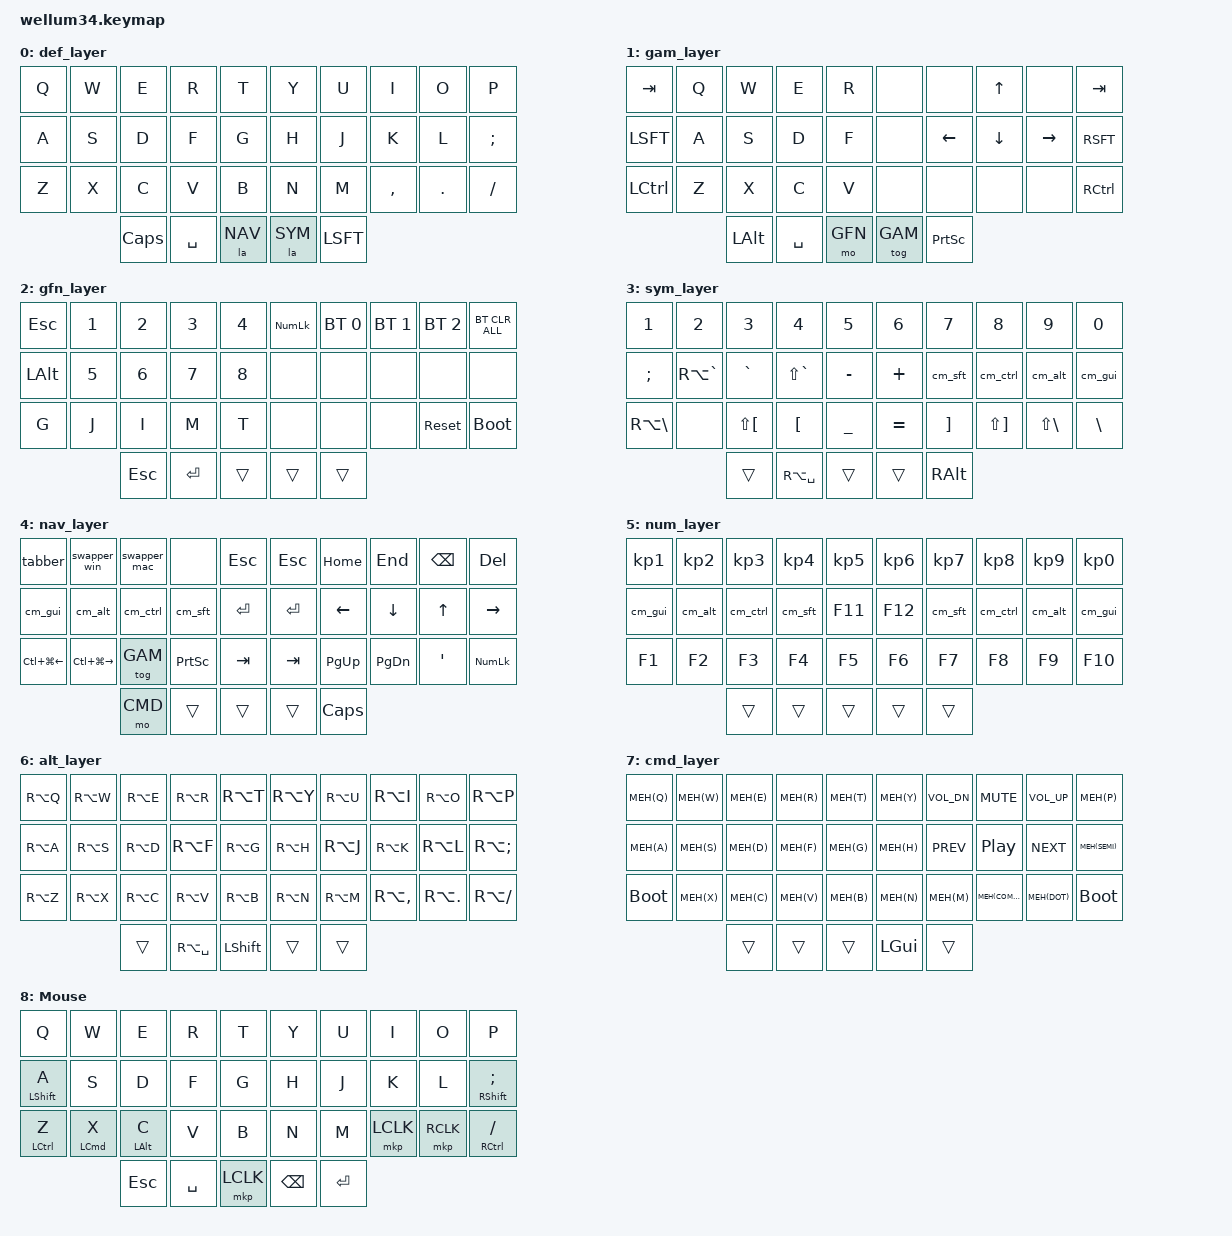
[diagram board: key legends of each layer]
#include <behaviors.dtsi>
#include <dt-bindings/zmk/keys.h>
#include <dt-bindings/zmk/bt.h>
#include <behaviors/mouse_keys.dtsi>
#include <dt-bindings/zmk/keys.h>
#include <dt-bindings/zmk/mouse.h>
#include <dt-bindings/zmk/outputs.h>

#include <dt-bindings/zmk/ext_power.h>

#define _ &kp
#define ___ &none
#define ______ &trans

#define DEF 0
#define GAM 1
#define GFN 2
#define SYM 3
#define NAV 4
#define NUM 5
#define ALT 6
#define CMD 7

#define MEH(key) LS(LC(LA(key)))

#define SQT GRAVE
#define DQT LS(GRAVE)
#define GRV RA(GRAVE)
#define PIP LS(BSLH)
#define BSL RA(BSLH)
#define NBSP RA(SPACE)

#define NSPC LC(LG(RIGHT))
#define PSPC LC(LG(LEFT))

// custom implementation of modified callum-mods,
// which can be released on second keypress
// and also work with swapper and/or tabber

#define PARAM_1 0
#define PARAM_2 0

#define MACRO(NAME, COMPATIBLE, BINDING_CELLS, BINDINGS) \
    NAME: NAME { \
        compatible = COMPATIBLE; \
        #binding-cells = <BINDING_CELLS>; \
        wait-ms = <0>; \
        tap-ms = <0>; \
        bindings = \
            <BINDINGS>; \
    };

#define MACRO_NO_PARAM(NAME, BINDINGS)  MACRO(NAME, "zmk,behavior-macro"          , 0, BINDINGS)
#define MACRO_ONE_PARAM(NAME, BINDINGS) MACRO(NAME, "zmk,behavior-macro-one-param", 1, BINDINGS)
#define MACRO_TWO_PARAM(NAME, BINDINGS) MACRO(NAME, "zmk,behavior-macro-two-param", 2, BINDINGS)

#define MAX_TIMER __UINT32_MAX__ // around 50 days

#define STICKY_FOREVER(NAME, BIND) \
    NAME: NAME { \
        compatible = "zmk,behavior-sticky-key"; \
        #binding-cells = <1>; \
        bindings = <BIND>; \
        release-after-ms = <MAX_TIMER>; \
        ignore-modifiers; \
    };

#define MODMORPH(NAME, NORMAL, MORPHED, MODS, KEEP_MODS) \
    NAME: NAME { \
        compatible = "zmk,behavior-mod-morph"; \
        #binding-cells = <0>; \
        bindings = <NORMAL>, <MORPHED>; \
        mods = <(MODS)>; \
        keep-mods = <(KEEP_MODS)>; \
    };

&sk {
        release-after-ms = <60000>;
};

/ {
    behaviors {
        MACRO_ONE_PARAM(
            m_release_key_twice,
            &macro_release
                &macro_param_1to1 &kp PARAM_1
                &macro_param_1to1 &kp PARAM_1
        )


        MACRO_ONE_PARAM(
            m_press_key_twice,
            &macro_press
                &macro_param_1to1 &kp PARAM_1
                &macro_param_1to1 &kp PARAM_1
            &macro_pause_for_release
            &macro_tap
                &m_release_key_twice PARAM_1
        )

        STICKY_FOREVER(sticky_forever, &m_press_key_twice)

        MODMORPH(
            cm_gui,
            &sticky_forever LGUI,
            &m_release_key_twice LGUI,
            MOD_LGUI,
            MOD_LGUI
        )

        MODMORPH(
            cm_alt,
            &sticky_forever LALT,
            &m_release_key_twice LALT,
            MOD_LALT,
            MOD_LALT
        )

        MODMORPH(
            cm_ctrl,
            &sticky_forever LCTRL,
            &m_release_key_twice LCTRL,
            MOD_LCTL,
            MOD_LCTL
        )

        MODMORPH(
            cm_sft,
            &sticky_forever LSHIFT,
            &m_release_key_twice LSHIFT,
            MOD_LSFT,
            MOD_LSFT
        )

        MACRO_TWO_PARAM(
            m_hold_mod_press_key,
            &macro_press
                &macro_param_1to1 &kp PARAM_1
            &macro_tap
                &macro_param_2to1 &kp PARAM_2
        )

        MODMORPH(
            tabber,
            &m_hold_mod_press_key LCTRL TAB,
            &kp TAB,
            MOD_LCTL,
            MOD_LCTL
        )

        MODMORPH(
            swapper_win,
            &m_hold_mod_press_key LALT TAB,
            &kp TAB,
            MOD_LALT,
            MOD_LALT
        )

        MODMORPH(
            swapper_mac,
            &m_hold_mod_press_key LGUI TAB,
            &kp TAB,
            MOD_LGUI,
            MOD_LGUI
        )

        MACRO_ONE_PARAM(
            la,
            &macro_tap
                &kp 0 // do nothing, fire all sticky keys
            &macro_press
                &macro_param_1to1 &mo PARAM_1
            &macro_pause_for_release
            &macro_release
                &macro_param_1to1 &mo PARAM_1
                &kp LSHFT
                &kp LCTRL
                &kp LALT
                &kp LGUI
        )
    };

    conditional_layers {
        compatible = "zmk,conditional-layers";
        tri_layer {
            if-layers  = <NAV SYM>;
            then-layer = <NUM>;
        };
    };
};

/ {
    keymap {
        compatible = "zmk,keymap";

        def_layer {
            bindings = <
_ Q          _ W          _ E          _ R         _ T             _ Y          _ U          _ I          _ O          _ P
_ A          _ S          _ D          _ F         _ G             _ H          _ J          _ K          _ L          _ SEMI
_ Z          _ X          _ C          _ V         _ B             _ N          _ M          _ COMMA      _ DOT        _ FSLH
                          _ CAPS       _ SPACE     &la NAV         &la SYM      _ LSFT
            >;
        };

        gam_layer {
            bindings = <
_ TAB        _ Q          _ W          _ E         _ R             ___          ___          _ UP         ___          _ TAB
_ LSFT       _ A          _ S          _ D         _ F             ___          _ LEFT       _ DOWN       _ RIGHT      _ RSFT
_ LCTRL      _ Z          _ X          _ C         _ V             ___          ___          ___          ___          _ RCTRL
                          _ LALT       _ SPACE     &mo GFN         &tog GAM     _ PSCRN
            >;
        };

        gfn_layer {
            bindings = <
_ ESC        _ N1         _ N2         _ N3        _ N4            _ KP_NUM     &bt BT_SEL 0 &bt BT_SEL 1 &bt BT_SEL 2 &bt BT_CLR_ALL
_ LALT       _ N5         _ N6         _ N7        _ N8            ___          ___          ___          ___          ___
_ G          _ J          _ I          _ M         _ T             ___          ___          ___          &sys_reset   &bootloader
                          _ ESC        _ RET       ______          ______       ______
            >;
        };

        sym_layer {
            bindings = <
_ N1         _ N2         _ N3         _ N4        _ N5            _ N6         _ N7         _ N8         _ N9         _ N0
_ SEMI       _ GRV        _ SQT        _ DQT       _ MINUS         _ PLUS       &cm_sft      &cm_ctrl     &cm_alt      &cm_gui
_ BSL        ___          _ LS(LBKT)   _ LBKT      _ UNDER         _ EQUAL      _ RBKT       _ LS(RBKT)   _ PIP        _ BSLH
                          ______       _ NBSP      ______          ______       _ RALT
            >;
        };

        nav_layer {
            bindings = <
&tabber      &swapper_win &swapper_mac ___         _ ESC           _ ESC        _ HOME       _ END        _ BSPC       _ DEL
&cm_gui      &cm_alt      &cm_ctrl     &cm_sft     _ RET           _ RET        _ LEFT       _ DOWN       _ UP         _ RIGHT
_ PSPC       _ NSPC       &tog GAM     _ PSCRN     _ TAB           _ TAB        _ PG_UP      _ PG_DN      _ APOS       _ KP_NUM
                          &mo CMD      ______      ______          ______       _ CAPS
            >;
        };

        num_layer {
            bindings = <
_ KP_N1      _ KP_N2      _ KP_N3      _ KP_N4     _ KP_N5         _ KP_N6      _ KP_N7      _ KP_N8      _ KP_N9      _ KP_N0
&cm_gui      &cm_alt      &cm_ctrl     &cm_sft     _ F11           _ F12        &cm_sft      &cm_ctrl     &cm_alt       &cm_gui
_ F1         _ F2         _ F3         _ F4        _ F5            _ F6         _ F7         _ F8         _ F9         _ F10
                          ______       ______      ______          ______       ______
            >;
        };

        alt_layer {
            bindings = <
_ RA(Q)      _ RA(W)      _ RA(E)      _ RA(R)     _ RA(T)         _ RA(Y)      _ RA(U)      _ RA(I)      _ RA(O)      _ RA(P)
_ RA(A)      _ RA(S)      _ RA(D)      _ RA(F)     _ RA(G)         _ RA(H)      _ RA(J)      _ RA(K)      _ RA(L)      _ RA(SEMI)
_ RA(Z)      _ RA(X)      _ RA(C)      _ RA(V)     _ RA(B)         _ RA(N)      _ RA(M)      _ RA(COMMA)  _ RA(DOT)    _ RA(FSLH)
                          ______       _ NBSP      _ LSHFT         ______       ______
            >;
        };

        cmd_layer {
            bindings = <
_ MEH(Q)     _ MEH(W)     _ MEH(E)     _ MEH(R)    _ MEH(T)        _ MEH(Y)     _ C_VOL_DN   _ C_MUTE     _ C_VOL_UP   _ MEH(P)
_ MEH(A)     _ MEH(S)     _ MEH(D)     _ MEH(F)    _ MEH(G)        _ MEH(H)     _ C_PREV     _ C_PP       _ C_NEXT     _ MEH(SEMI)
&bootloader  _ MEH(X)     _ MEH(C)     _ MEH(V)    _ MEH(B)        _ MEH(N)     _ MEH(M)     _ MEH(COMMA) _ MEH(DOT)   &bootloader
                          ______       ______      ______          _ LGUI       ______
            >;
        };
        
        Mouse {
            bindings = <
&kp Q             &kp W       &kp E       &kp R      &kp T        &kp Y          &kp U      &kp I      &kp O      &kp P
&mt LEFT_SHIFT A  &kp S       &kp D       &kp F      &kp G        &kp H          &kp J      &kp K      &kp L      &mt RIGHT_SHIFT SEMI
&mt LCTRL Z       &mt LCMD X  &mt LALT C  &kp V      &kp B        &kp N          &kp M      &mkp LCLK  &mkp RCLK  &mt RCTRL SLASH
                                     &kp ESCAPE  &kp SPACE  &mkp LCLK    &kp BACKSPACE  &kp ENTER
            >;
        };
    };
};
